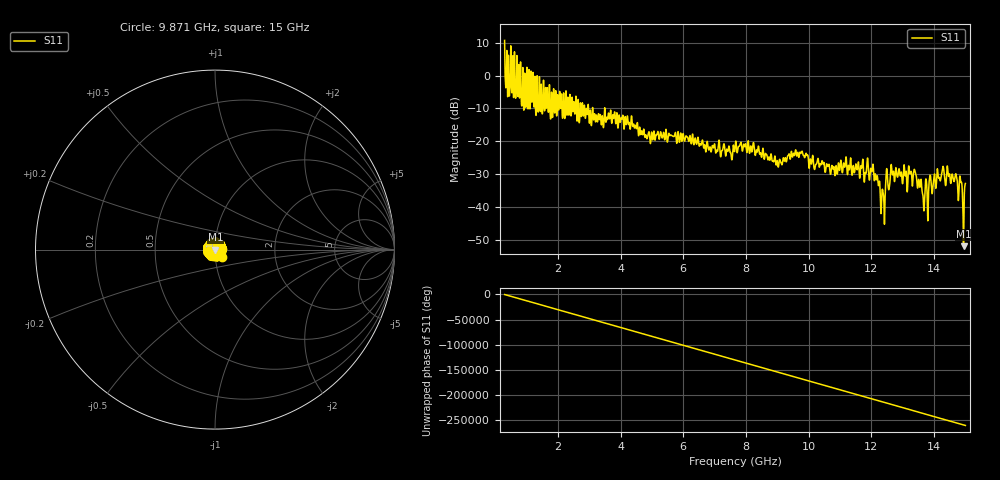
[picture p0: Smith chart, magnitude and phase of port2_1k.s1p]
# GHZ S RI R 50.0
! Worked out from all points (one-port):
!   12801 points, 300 MHz to 15 GHz, reference 50 ohm
!   lowest |S11| = -52.0 dB at 14.94 GHz (marker M1), VSWR 1.01, Z = 50.2 - j0.116 ohm
!   |S11| at or under -10 dB: 2.976 GHz to 3.102 GHz (125.9 MHz wide, 4.14 % of centre); 3.111 GHz to 3.49 GHz (378.6 MHz wide, 11.5 % of centre); 3.497 GHz to end of sweep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
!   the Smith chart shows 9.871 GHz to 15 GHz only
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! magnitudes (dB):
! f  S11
! 300 MHz  10.7
! 398.8 MHz  -6.3
! 750.2 MHz  2.9
! 907.5 MHz  -10.1
! 1.203 GHz  0.4
! 1.311 GHz  -11.2
! 2.138 GHz  -11.9
! 3.975 GHz  -13.8
! 4.897 GHz  -17.2
! 5.812 GHz  -19.1
! 7.65 GHz  -22.3
! 8.204 GHz  -22.6
! 9.011 GHz  -26.9
! 9.488 GHz  -24.8
! 10.86 GHz  -29.5
! 11.32 GHz  -26.3
! 12.03 GHz  -28.2
! 12.2 GHz  -31.5
! 12.36 GHz  -34.9
! 12.66 GHz  -29.1
! 13.16 GHz  -32.9
! 13.39 GHz  -29.2
! 13.74 GHz  -31.5
! 14.06 GHz  -34.3
! 14.46 GHz  -30.6
! 14.84 GHz  -31.8
! 14.94 GHz  -52.0
! 15 GHz  -32.9
